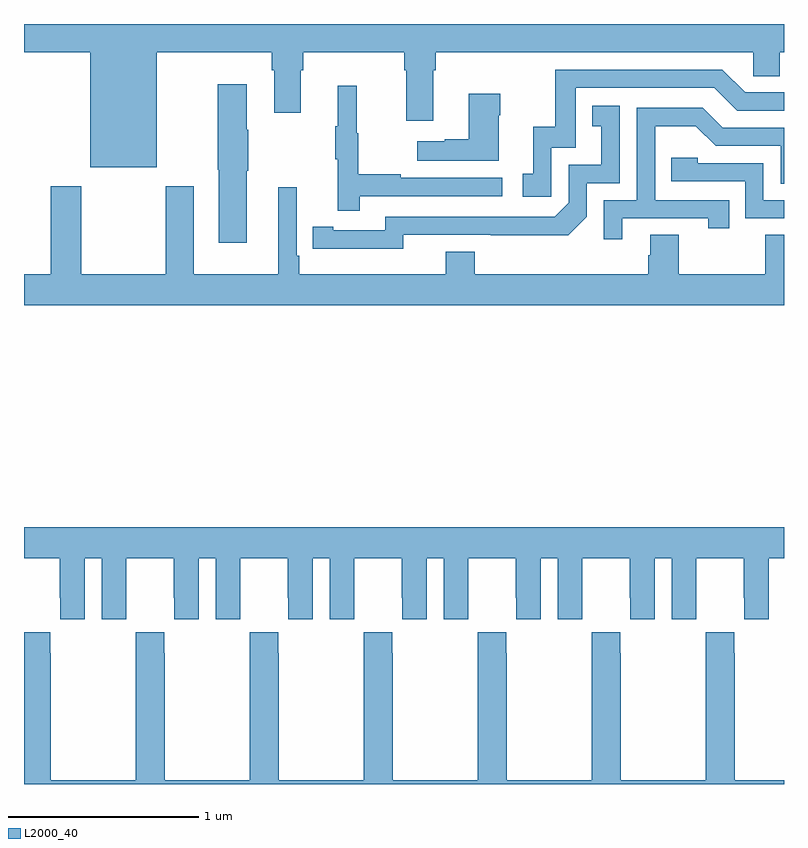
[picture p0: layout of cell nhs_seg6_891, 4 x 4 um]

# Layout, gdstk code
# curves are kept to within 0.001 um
import gdstk
lib = gdstk.Library(unit=1e-6, precision=1e-09)
def P(c, l, *ps):  # polygons
    for p in ps: c.add(gdstk.Polygon(p, *l))
L2000_40 = (2000, 40)

nhs_seg6_891 = lib.new_cell('nhs_seg6_891')
P(nhs_seg6_891, L2000_40, [(167.698,931.352),(168.305,931.352),(168.305,931.256),(168.317,931.256),(168.317,931.032),(168.457,931.032),(168.457,931.256),(168.47,931.256),(168.47,931.352),(169.001,931.352),(169.001,931.256),(169.013,931.256),(169.013,930.99),(169.153,930.99),(169.153,931.256),(169.166,931.256),(169.166,931.352),(170.838,931.352),(170.838,931.225),(170.977,931.225),(170.977,931.352),(171,931.352),(171,931.5),(167,931.5),(167,931.352),(167.348,931.352),(167.348,930.746),(167.698,930.746)],
  [(169.776,930.849),(169.905,930.849),(169.905,931.164),(170.634,931.164),(170.754,931.044),(171,931.044),(171,931.14),(170.796,931.14),(170.676,931.26),(169.797,931.26),(169.797,930.958),(169.679,930.958),(169.679,930.711),(169.626,930.711),(169.626,930.591),(169.776,930.591)],
  [(168.172,930.727),(168.18,930.727),(168.18,930.944),(168.172,930.944),(168.172,931.183),(168.019,931.183),(168.019,930.733),(168.026,930.733),(168.026,930.348),(168.172,930.348)],
  [(168.767,930.594),(169.516,930.594),(169.516,930.69),(168.983,930.69),(168.983,930.71),(168.76,930.71),(168.76,930.924),(168.752,930.924),(168.752,931.174),(168.65,931.174),(168.65,930.961),(168.639,930.961),(168.639,930.787),(168.65,930.787),(168.65,930.516),(168.767,930.516)],
  [(169.498,931.019),(169.506,931.019),(169.506,931.132),(169.34,931.132),(169.34,930.893),(169.214,930.893),(169.214,930.883),(169.071,930.883),(169.071,930.779),(169.498,930.779)],
  [(168.996,930.39),(169.864,930.389),(169.962,930.486),(169.962,930.663),(170.136,930.663),(170.136,931.069),(169.99,931.069),(169.99,930.963),(170.039,930.963),(170.039,930.759),(169.866,930.759),(169.866,930.558),(169.794,930.486),(168.9,930.486),(168.9,930.414),(168.628,930.414),(168.628,930.434),(168.52,930.434),(168.52,930.318),(168.996,930.317)],
  [(170.149,930.477),(170.6,930.477),(170.6,930.426),(170.711,930.426),(170.711,930.573),(170.322,930.573),(170.322,930.962),(170.536,930.962),(170.64,930.858),(170.982,930.858),(170.982,930.66),(171,930.66),(171,930.954),(170.677,930.954),(170.572,931.059),(170.226,931.059),(170.226,930.573),(170.052,930.573),(170.052,930.366),(170.149,930.366)],
  [(171,930.573),(170.892,930.573),(170.892,930.768),(170.547,930.768),(170.547,930.795),(170.407,930.795),(170.407,930.672),(170.796,930.672),(170.796,930.477),(171,930.477)],
  [(171,930.392),(170.902,930.392),(170.902,930.184),(170.445,930.184),(170.445,930.392),(170.297,930.392),(170.297,930.282),(170.285,930.282),(170.285,930.184),(169.373,930.184),(169.373,930.301),(169.22,930.301),(169.22,930.184),(168.449,930.184),(168.449,930.28),(168.435,930.28),(168.435,930.64),(168.338,930.64),(168.338,930.184),(167.893,930.184),(167.893,930.646),(167.746,930.646),(167.746,930.184),(167.301,930.184),(167.301,930.646),(167.141,930.646),(167.141,930.184),(167,930.184),(167,930.02),(171,930.02)],
  [(167.32,928.688),(167.408,928.688),(167.408,928.368),(167.538,928.368),(167.538,928.48),(167.539,928.48),(167.539,928.688),(167.789,928.688),(167.789,928.48),(167.79,928.48),(167.79,928.368),(167.92,928.368),(167.92,928.688),(168.008,928.688),(168.008,928.368),(168.138,928.368),(168.138,928.48),(168.139,928.48),(168.139,928.688),(168.389,928.688),(168.389,928.48),(168.39,928.48),(168.39,928.368),(168.52,928.368),(168.52,928.688),(168.608,928.688),(168.608,928.368),(168.738,928.368),(168.738,928.48),(168.739,928.48),(168.739,928.688),(168.989,928.688),(168.989,928.48),(168.99,928.48),(168.99,928.368),(169.12,928.368),(169.12,928.688),(169.208,928.688),(169.208,928.368),(169.338,928.368),(169.338,928.48),(169.339,928.48),(169.339,928.688),(169.589,928.688),(169.589,928.48),(169.59,928.48),(169.59,928.368),(169.72,928.368),(169.72,928.688),(169.808,928.688),(169.808,928.368),(169.938,928.368),(169.938,928.48),(169.939,928.48),(169.939,928.688),(170.189,928.688),(170.189,928.48),(170.19,928.48),(170.19,928.368),(170.32,928.368),(170.32,928.688),(170.408,928.688),(170.408,928.368),(170.538,928.368),(170.538,928.48),(170.539,928.48),(170.539,928.688),(170.789,928.688),(170.789,928.48),(170.79,928.48),(170.79,928.368),(170.92,928.368),(170.92,928.688),(171,928.688),(171,928.852),(167,928.852),(167,928.688),(167.189,928.688),(167.189,928.48),(167.19,928.48),(167.19,928.368),(167.32,928.368)],
  [(171,927.52),(170.742,927.52),(170.742,928.187),(170.739,928.187),(170.739,928.3),(170.589,928.3),(170.589,928.187),(170.587,928.187),(170.587,927.52),(170.142,927.52),(170.142,928.187),(170.139,928.187),(170.139,928.3),(169.989,928.3),(169.989,928.187),(169.987,928.187),(169.987,927.52),(169.542,927.52),(169.542,928.187),(169.539,928.187),(169.539,928.3),(169.389,928.3),(169.389,928.187),(169.387,928.187),(169.387,927.52),(168.942,927.52),(168.942,928.187),(168.939,928.187),(168.939,928.3),(168.789,928.3),(168.789,928.187),(168.787,928.187),(168.787,927.52),(168.342,927.52),(168.342,928.187),(168.339,928.187),(168.339,928.3),(168.189,928.3),(168.189,928.187),(168.187,928.187),(168.187,927.52),(167.742,927.52),(167.742,928.187),(167.739,928.187),(167.739,928.3),(167.589,928.3),(167.589,928.187),(167.587,928.187),(167.587,927.52),(167.142,927.52),(167.142,928.187),(167.139,928.187),(167.139,928.3),(167,928.3),(167,927.5),(171,927.5)])

lib.write_gds('nhs_seg6_891.gds')
